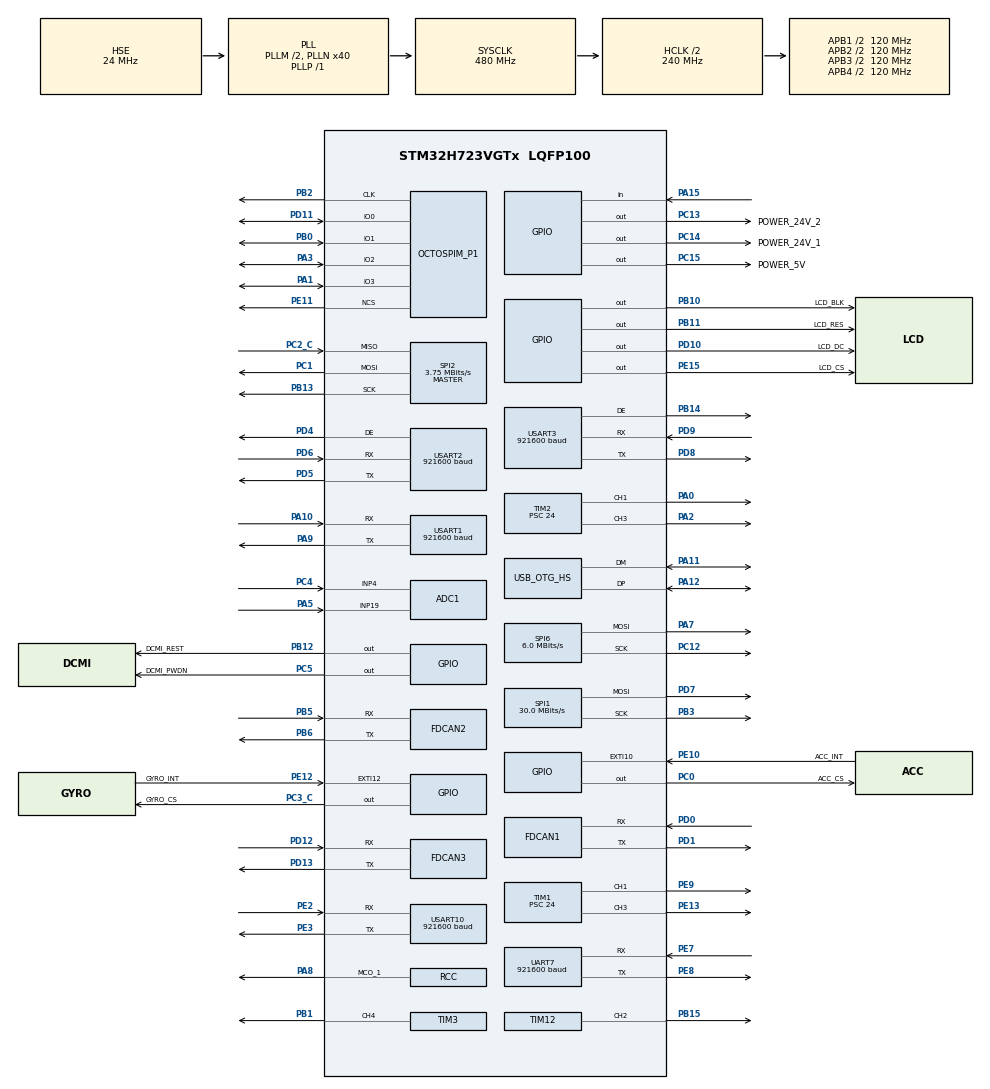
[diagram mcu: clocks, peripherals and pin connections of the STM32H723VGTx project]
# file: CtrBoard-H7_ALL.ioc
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ADC1.Channel-0\#ChannelRegularConversion=ADC_CHANNEL_4
ADC1.Channel-1\#ChannelRegularConversion=ADC_CHANNEL_19
ADC1.ClockPrescaler=ADC_CLOCK_ASYNC_DIV64
ADC1.ContinuousConvMode=ENABLE
ADC1.ConversionDataManagement=ADC_CONVERSIONDATA_DMA_CIRCULAR
ADC1.NbrOfConversion=2
ADC1.NbrOfConversionFlag=1
ADC1.OffsetNumber-0\#ChannelRegularConversion=ADC_OFFSET_NONE
ADC1.OffsetNumber-1\#ChannelRegularConversion=ADC_OFFSET_NONE
ADC1.OffsetSignedSaturation-0\#ChannelRegularConversion=DISABLE
ADC1.OffsetSignedSaturation-1\#ChannelRegularConversion=DISABLE
ADC1.Rank-0\#ChannelRegularConversion=1
ADC1.Rank-1\#ChannelRegularConversion=2
ADC1.SamplingTime-0\#ChannelRegularConversion=ADC_SAMPLETIME_32CYCLES_5
ADC1.SamplingTime-1\#ChannelRegularConversion=ADC_SAMPLETIME_32CYCLES_5
ADC1.master=1
CORTEX_M7.BaseAddress-Cortex_Memory_Protection_Unit_Region0_Settings=0x24000000
CORTEX_M7.CPU_DCache=Disabled
CORTEX_M7.CPU_ICache=Disabled
CORTEX_M7.Enable-Cortex_Memory_Protection_Unit_Region0_Settings=MPU_REGION_ENABLE
CORTEX_M7.IsBufferable-Cortex_Memory_Protection_Unit_Region0_Settings=MPU_ACCESS_BUFFERABLE
CORTEX_M7.IsCacheable-Cortex_Memory_Protection_Unit_Region0_Settings=MPU_ACCESS_CACHEABLE
CORTEX_M7.MPU_Control=__NULL
CORTEX_M7.Size-Cortex_Memory_Protection_Unit_Region0_Settings=MPU_REGION_SIZE_512B
CORTEX_M7.TypeExtField-Cortex_Memory_Protection_Unit_Region0_Settings=MPU_TEX_LEVEL1
Dma.ADC1.0.Direction=DMA_PERIPH_TO_MEMORY
Dma.ADC1.0.EventEnable=DISABLE
Dma.ADC1.0.FIFOMode=DMA_FIFOMODE_DISABLE
Dma.ADC1.0.Instance=DMA1_Stream0
Dma.ADC1.0.MemDataAlignment=DMA_MDATAALIGN_HALFWORD
Dma.ADC1.0.MemInc=DMA_MINC_ENABLE
Dma.ADC1.0.Mode=DMA_CIRCULAR
Dma.ADC1.0.PeriphDataAlignment=DMA_PDATAALIGN_HALFWORD
Dma.ADC1.0.PeriphInc=DMA_PINC_DISABLE
Dma.ADC1.0.Polarity=HAL_DMAMUX_REQ_GEN_RISING
Dma.ADC1.0.Priority=DMA_PRIORITY_LOW
Dma.ADC1.0.RequestNumber=1
Dma.ADC1.0.SignalID=NONE
Dma.ADC1.0.SyncEnable=DISABLE
Dma.ADC1.0.SyncPolarity=HAL_DMAMUX_SYNC_NO_EVENT
Dma.ADC1.0.SyncRequestNumber=1
Dma.ADC1.0.SyncSignalID=NONE
Dma.Request0=ADC1
FDCAN1.CalculateBaudRateNominal=1000000
FDCAN1.CalculateTimeBitNominal=1000
FDCAN1.CalculateTimeQuantumNominal=50.0
FDCAN1.NominalPrescaler=6
FDCAN1.NominalSyncJumpWidth=4
FDCAN1.NominalTimeSeg1=15
FDCAN1.NominalTimeSeg2=4
FDCAN1.RxFifo0ElmtsNbr=32
FDCAN1.StdFiltersNbr=1
FDCAN1.TxFifoQueueElmtsNbr=32
FDCAN2.CalculateBaudRateNominal=1000000
FDCAN2.CalculateTimeBitNominal=1000
FDCAN2.CalculateTimeQuantumNominal=200.0
FDCAN2.MessageRAMOffset=0x406
FDCAN2.NominalPrescaler=24
FDCAN2.RxFifo0ElmtsNbr=32
FDCAN2.StdFiltersNbr=1
FDCAN2.TxFifoQueueElmtsNbr=32
FDCAN3.CalculateBaudRateNominal=1000000
FDCAN3.CalculateTimeBitNominal=1000
FDCAN3.CalculateTimeQuantumNominal=200.0
FDCAN3.MessageRAMOffset=0x812
FDCAN3.NominalPrescaler=24
FDCAN3.RxFifo0ElmtsNbr=32
FDCAN3.StdFiltersNbr=1
FDCAN3.TxFifoQueueElmtsNbr=32
FREERTOS.INCLUDE_eTaskGetState=1
FREERTOS.INCLUDE_uxTaskGetStackHighWaterMark=1
FREERTOS.INCLUDE_vTaskDelayUntil=1
FREERTOS.INCLUDE_xQueueGetMutexHolder=1
FREERTOS.INCLUDE_xTaskGetCurrentTaskHandle=1
FREERTOS.INCLUDE_xTimerPendFunctionCall=1
FREERTOS.Tasks01=defaultTask,0,128,StartDefaultTask,Default,NULL,Dynamic,NULL,NULL;KeyTask,3,128,KeyTask_Entry,As weak,NULL,Static,KeyTaskBuffer,KeyTaskControlBlock;LcdTask,0,256,LcdTask_Entry,As weak,NULL,Static,LcdTaskBuffer,LcdTaskControlBlock;ImuTask,2,1024,ImuTask_Entry,As weak,NULL,Static,ImuTaskBuffer,ImuTaskControlBlock;FunTest,-1,128,FunTest_Entry,As weak,NULL,Static,FunTestBuffer,FunTestControlBlock
FREERTOS.configENABLE_FPU=1
FREERTOS.configUSE_COUNTING_SEMAPHORES=1
FREERTOS.configUSE_RECURSIVE_MUTEXES=1
FREERTOS.configUSE_TIMERS=1
FREERTOS.configUSE_TRACE_FACILITY=1
Mcu.Family=STM32H7
Mcu.Name=STM32H723VGTx
Mcu.Package=LQFP100
NVIC.DMA1_Stream0_IRQn=true\:5\:0\:false\:false\:true\:false\:false\:true\:true
NVIC.FDCAN1_IT0_IRQn=true\:5\:0\:false\:false\:true\:true\:true\:true\:true
NVIC.FDCAN1_IT1_IRQn=true\:5\:0\:false\:false\:true\:true\:true\:true\:true
NVIC.FDCAN2_IT0_IRQn=true\:5\:0\:false\:false\:true\:true\:true\:true\:true
NVIC.FDCAN2_IT1_IRQn=true\:5\:0\:false\:false\:true\:true\:true\:true\:true
NVIC.FDCAN3_IT0_IRQn=true\:5\:0\:false\:false\:true\:true\:true\:true\:true
NVIC.FDCAN3_IT1_IRQn=true\:5\:0\:false\:false\:true\:true\:true\:true\:true
NVIC.OTG_HS_IRQn=true\:5\:0\:false\:false\:true\:true\:false\:true\:true
NVIC.PriorityGroup=NVIC_PRIORITYGROUP_4
NVIC.TIM23_IRQn=true\:15\:0\:false\:false\:true\:false\:false\:true\:true
NVIC.TimeBase=TIM23_IRQn
NVIC.TimeBaseIP=TIM23
NVIC.UART7_IRQn=true\:5\:0\:true\:false\:true\:false\:true\:true\:true
NVIC.USART10_IRQn=true\:5\:0\:true\:false\:true\:false\:true\:true\:true
NVIC.USART1_IRQn=true\:5\:0\:true\:false\:true\:false\:true\:true\:true
NVIC.USART2_IRQn=true\:5\:0\:true\:false\:true\:false\:true\:true\:true
NVIC.USART3_IRQn=true\:5\:0\:true\:false\:true\:false\:true\:true\:true
OCTOSPI2.ClockMode=HAL_OSPI_CLOCK_MODE_3
OCTOSPI2.ClockPrescaler=3
OCTOSPI2.DeviceSize=23
OCTOSPI2.DeviceType=SPI_DEVICE_FLASH
OCTOSPI2.FifoThreshold=8
OCTOSPI2.SampleShifting=HAL_OSPI_SAMPLE_SHIFTING_HALFCYCLE
PA0.Signal=S_TIM2_CH1_ETR
PA1.Mode=OCTOSPI2_IOL_Port1L
PA1.Signal=OCTOSPIM_P1_IO3
PA10.Mode=Asynchronous
PA10.Signal=USART1_RX
PA11.Mode=Device_Only_FS
PA11.Signal=USB_OTG_HS_DM
PA12.Mode=Device_Only_FS
PA12.Signal=USB_OTG_HS_DP
PA13(JTMS/SWDIO).Mode=Serial_Wire
PA13(JTMS/SWDIO).Signal=DEBUG_JTMS-SWDIO
PA14(JTCK/SWCLK).Mode=Serial_Wire
PA14(JTCK/SWCLK).Signal=DEBUG_JTCK-SWCLK
PA15(JTDI).GPIO_PuPd=GPIO_PULLUP
PA15(JTDI).Signal=GPIO_Input
PA2.Signal=S_TIM2_CH3
PA3.Mode=OCTOSPI2_IOL_Port1L
PA3.Signal=OCTOSPIM_P1_IO2
PA5.Signal=ADCx_INP19
PA7.Mode=TX_Only_Simplex_Unidirect_Master
PA7.Signal=SPI6_MOSI
PA8.Mode=Clock-out-1
PA8.Signal=RCC_MCO_1
PA9.Mode=Asynchronous
PA9.Signal=USART1_TX
PB0.Mode=OCTOSPI2_IOL_Port1L
PB0.Signal=OCTOSPIM_P1_IO1
PB1.Signal=S_TIM3_CH4
PB10.GPIO_Label=LCD_BLK
PB10.Signal=GPIO_Output
PB11.GPIO_Label=LCD_RES
PB11.Signal=GPIO_Output
PB12.GPIO_Label=DCMI_REST
PB12.GPIO_PuPd=GPIO_PULLUP
PB12.GPIO_Speed=GPIO_SPEED_FREQ_VERY_HIGH
PB12.PinState=GPIO_PIN_SET
PB12.Signal=GPIO_Output
PB13.GPIO_Speed=GPIO_SPEED_FREQ_VERY_HIGH
PB13.Mode=Full_Duplex_Master
PB13.Signal=SPI2_SCK
PB14.Mode=Hardware Flow Control (RS485)
PB14.Signal=USART3_DE
PB15.Signal=S_TIM12_CH2
PB2.Mode=O2_P1_CLK
PB2.Signal=OCTOSPIM_P1_CLK
PB3(JTDO/TRACESWO).GPIO_Speed=GPIO_SPEED_FREQ_VERY_HIGH
PB3(JTDO/TRACESWO).Mode=TX_Only_Simplex_Unidirect_Master
PB3(JTDO/TRACESWO).Signal=SPI1_SCK
PB5.Mode=FDCAN_Activate
PB5.Signal=FDCAN2_RX
PB6.Mode=FDCAN_Activate
PB6.Signal=FDCAN2_TX
PC0.GPIO_Label=ACC_CS
PC0.GPIO_Speed=GPIO_SPEED_FREQ_VERY_HIGH
PC0.PinState=GPIO_PIN_SET
PC0.Signal=GPIO_Output
PC1.GPIO_Speed=GPIO_SPEED_FREQ_VERY_HIGH
PC1.Mode=Full_Duplex_Master
PC1.Signal=SPI2_MOSI
PC12.Mode=TX_Only_Simplex_Unidirect_Master
PC12.Signal=SPI6_SCK
PC13.GPIO_Label=POWER_24V_2
PC13.PinState=GPIO_PIN_SET
PC13.Signal=GPIO_Output
PC14-OSC32_IN.GPIO_Label=POWER_24V_1
PC14-OSC32_IN.PinState=GPIO_PIN_SET
PC14-OSC32_IN.Signal=GPIO_Output
PC15-OSC32_OUT.GPIO_Label=POWER_5V
PC15-OSC32_OUT.PinState=GPIO_PIN_SET
PC15-OSC32_OUT.Signal=GPIO_Output
PC2_C.GPIO_Speed=GPIO_SPEED_FREQ_VERY_HIGH
PC2_C.Mode=Full_Duplex_Master
PC2_C.Signal=SPI2_MISO
PC3_C.GPIO_Label=GYRO_CS
PC3_C.GPIO_Speed=GPIO_SPEED_FREQ_VERY_HIGH
PC3_C.PinState=GPIO_PIN_SET
PC3_C.Signal=GPIO_Output
PC4.Signal=ADCx_INP4
PC5.GPIO_Label=DCMI_PWDN
PC5.GPIO_PuPd=GPIO_NOPULL
PC5.GPIO_Speed=GPIO_SPEED_FREQ_VERY_HIGH
PC5.PinState=GPIO_PIN_SET
PC5.Signal=GPIO_Output
PD0.Mode=FDCAN_Activate
PD0.Signal=FDCAN1_RX
PD1.Mode=FDCAN_Activate
PD1.Signal=FDCAN1_TX
PD10.GPIO_Label=LCD_DC
PD10.Signal=GPIO_Output
PD11.Mode=OCTOSPI2_IOL_Port1L
PD11.Signal=OCTOSPIM_P1_IO0
PD12.Mode=FDCAN_Activate
PD12.Signal=FDCAN3_RX
PD13.Mode=FDCAN_Activate
PD13.Signal=FDCAN3_TX
PD4.Mode=Hardware Flow Control (RS485)
PD4.Signal=USART2_DE
PD5.Mode=Asynchronous
PD5.Signal=USART2_TX
PD6.Mode=Asynchronous
PD6.Signal=USART2_RX
PD7.GPIO_Speed=GPIO_SPEED_FREQ_VERY_HIGH
PD7.Mode=TX_Only_Simplex_Unidirect_Master
PD7.Signal=SPI1_MOSI
PD8.Mode=Asynchronous
PD8.Signal=USART3_TX
PD9.Mode=Asynchronous
PD9.Signal=USART3_RX
PE10.GPIO_Label=ACC_INT
PE10.Signal=GPXTI10
PE11.Mode=OCTOSPI2_Port1_NCS
PE11.Signal=OCTOSPIM_P1_NCS
PE12.GPIO_Label=GYRO_INT
PE12.Signal=GPXTI12
PE13.Signal=S_TIM1_CH3
PE15.GPIO_Label=LCD_CS
PE15.Signal=GPIO_Output
PE2.Mode=Asynchronous
PE2.Signal=USART10_RX
PE3.Mode=Asynchronous
PE3.Signal=USART10_TX
PE7.Mode=Asynchronous
PE7.Signal=UART7_RX
PE8.Mode=Asynchronous
PE8.Signal=UART7_TX
PE9.Signal=S_TIM1_CH1
PH0-OSC_IN.Mode=HSE-External-Oscillator
PH0-OSC_IN.Signal=RCC_OSC_IN
PH1-OSC_OUT.Mode=HSE-External-Oscillator
PH1-OSC_OUT.Signal=RCC_OSC_OUT
ProjectManager.HeapSize=0x200
ProjectManager.StackSize=0x800
ProjectManager.TargetToolchain=CMake
RCC.ADCFreq_Value=96000000
RCC.APB1Freq_Value=120000000
RCC.APB2Freq_Value=120000000
RCC.APB3Freq_Value=120000000
RCC.APB4Freq_Value=120000000
RCC.CortexFreq_Value=480000000
RCC.D1PPRE=RCC_APB3_DIV2
RCC.D2PPRE1=RCC_APB1_DIV2
RCC.D2PPRE2=RCC_APB2_DIV2
RCC.D3PPRE=RCC_APB4_DIV2
RCC.DIVM1=2
RCC.DIVM2=2
RCC.DIVN1=40
RCC.DIVN2=16
RCC.DIVP1=1
RCC.DIVQ1=4
RCC.EnbaleCSS=false
RCC.HCLKFreq_Value=240000000
RCC.HPRE=RCC_HCLK_DIV2
RCC.HSE_VALUE=24000000
RCC.PLL2FRACN=0
RCC.PLL2_VCI_Range-AdvancedSettings=RCC_PLL2VCIRANGE_0
RCC.PLL2_VCO_SEL-AdvancedSettings=RCC_PLL2VCOWIDE
RCC.PLL3FRACN=0
RCC.PLL3_VCO_SEL-AdvancedSettings=RCC_PLL3VCOMEDIUM
RCC.PLLFRACN=0
RCC.PLLSourceVirtual=RCC_PLLSOURCE_HSE
RCC.SPI6CLockSelection=RCC_SPI6CLKSOURCE_HSE
RCC.SYSCLKFreq_VALUE=480000000
RCC.SYSCLKSource=RCC_SYSCLKSOURCE_PLLCLK
RCC.USBCLockSelection=RCC_USBCLKSOURCE_HSI48
RCC.USBFreq_Value=48000000
SH.ADCx_INP19.0=ADC1_INP19,IN19-Single-Ended
SH.ADCx_INP4.0=ADC1_INP4,IN4-Single-Ended
SH.S_TIM12_CH2.0=TIM12_CH2,PWM Generation2 CH2
SH.S_TIM1_CH1.0=TIM1_CH1,PWM Generation1 CH1
SH.S_TIM1_CH3.0=TIM1_CH3,PWM Generation3 CH3
SH.S_TIM2_CH1_ETR.0=TIM2_CH1,PWM Generation1 CH1
SH.S_TIM2_CH3.0=TIM2_CH3,PWM Generation3 CH3
SH.S_TIM3_CH4.0=TIM3_CH4,PWM Generation4 CH4
SPI1.BaudRatePrescaler=SPI_BAUDRATEPRESCALER_4
SPI1.CLKPolarity=SPI_POLARITY_HIGH
SPI1.CalculateBaudRate=30.0 MBits/s
SPI1.DataSize=SPI_DATASIZE_8BIT
SPI1.Direction=SPI_DIRECTION_2LINES_TXONLY
SPI1.Mode=SPI_MODE_MASTER
SPI1.VirtualType=VM_MASTER
SPI2.BaudRatePrescaler=SPI_BAUDRATEPRESCALER_32
SPI2.CLKPhase=SPI_PHASE_2EDGE
SPI2.CLKPolarity=SPI_POLARITY_HIGH
SPI2.CalculateBaudRate=3.75 MBits/s
SPI2.DataSize=SPI_DATASIZE_8BIT
SPI2.Direction=SPI_DIRECTION_2LINES
SPI2.Mode=SPI_MODE_MASTER
SPI2.VirtualType=VM_MASTER
SPI6.BaudRatePrescaler=SPI_BAUDRATEPRESCALER_4
SPI6.CLKPhase=SPI_PHASE_1EDGE
SPI6.CalculateBaudRate=6.0 MBits/s
SPI6.DataSize=SPI_DATASIZE_8BIT
SPI6.Direction=SPI_DIRECTION_2LINES_TXONLY
SPI6.Mode=SPI_MODE_MASTER
SPI6.VirtualType=VM_MASTER
TIM1.Channel-PWM\ Generation1\ CH1=TIM_CHANNEL_1
TIM1.Channel-PWM\ Generation3\ CH3=TIM_CHANNEL_3
TIM1.Period=10000
TIM1.Prescaler=24
TIM1.Pulse-PWM\ Generation1\ CH1=5000
TIM1.Pulse-PWM\ Generation3\ CH3=5000
TIM12.Channel-PWM\ Generation2\ CH2=TIM_CHANNEL_2
TIM12.Period=2000-1
TIM12.Prescaler=24-1
TIM2.Channel-PWM\ Generation1\ CH1=TIM_CHANNEL_1
TIM2.Channel-PWM\ Generation3\ CH3=TIM_CHANNEL_3
TIM2.Period=10000
TIM2.Prescaler=24
TIM2.Pulse-PWM\ Generation1\ CH1=5000
TIM2.Pulse-PWM\ Generation3\ CH3=5000
TIM3.AutoReloadPreload=TIM_AUTORELOAD_PRELOAD_ENABLE
TIM3.Channel-PWM\ Generation4\ CH4=TIM_CHANNEL_4
TIM3.Period=10000-1
TIM3.Prescaler=24-1
UART7.BaudRate=921600
USART1.BaudRate=921600
USART1.VirtualMode-Asynchronous=VM_ASYNC
USART10.BaudRate=921600
USART10.VirtualMode=VM_ASYNC
USART2.BaudRate=921600
USART2.VirtualMode-Asynchronous=VM_ASYNC
USART2.VirtualMode-Hardware\ Flow\ Control\ (RS485)=VM_ASYNC
USART3.BaudRate=921600
USART3.VirtualMode-Asynchronous=VM_ASYNC
USART3.VirtualMode-Hardware\ Flow\ Control\ (RS485)=VM_ASYNC
USB_DEVICE.CLASS_NAME_HS=CDC
USB_DEVICE.VirtualMode=Cdc
USB_DEVICE.VirtualModeHS=Cdc_HS
USB_OTG_HS.VirtualMode-Device_Only_FS=Device_Only_FS
VP_FREERTOS_VS_CMSIS_V1.Mode=CMSIS_V1
VP_OCTOSPI2_VS_quad.Mode=quad_mode
VP_SYS_VS_tim23.Mode=TIM23
VP_USB_DEVICE_VS_USB_DEVICE_CDC_HS.Mode=CDC_HS
board=custom

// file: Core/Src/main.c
/* USER CODE BEGIN Header */
/**
  ******************************************************************************
  * @file           : main.c
  * @brief          : Main program body
  ******************************************************************************
  * @attention
  *
  * Copyright (c) 2024 STMicroelectronics.
  * All rights reserved.
  *
  * This software is licensed under terms that can be found in the LICENSE file
  * in the root directory of this software component.
  * If no LICENSE file comes with this software, it is provided AS-IS.
  *
  ******************************************************************************
  */
/* USER CODE END Header */
#include "main.h"
#include "cmsis_os.h"
#include "adc.h"
#include "dma.h"
#include "fdcan.h"
#include "octospi.h"
#include "spi.h"
#include "tim.h"
#include "usart.h"
#include "usb_device.h"
#include "gpio.h"

/* USER CODE BEGIN Includes */
#include "Algorithm_Example.h"
#include "vofa.h"
#include "w25q64.h"
#include <stdio.h>

/* USER CODE END Includes */

/* USER CODE BEGIN PV */
#define W25Qxx_NumByteToTest   	32*1024					// Flash 读写测试长度：32 KB

int32_t OSPI_Status ; 		 // OSPI 操作状态

uint8_t  W25Qxx_WriteBuffer[W25Qxx_NumByteToTest];		// 写入缓冲区
uint8_t  W25Qxx_ReadBuffer[W25Qxx_NumByteToTest];		// 读取缓冲区
/* USER CODE END PV */

void SystemClock_Config(void);
void MX_FREERTOS_Init(void);

/* USER CODE BEGIN 0 */
/***************************************************************************************************
* 函 数 名: OSPI_W25Qxx_Test
* 输入参数: 无
* 返 回 值: OSPI_W25Qxx_OK 表示测试通过
* 功能说明: 对 W25Q64 进行擦除、写入、读取、校验和读取速度测试
* 注    意: 测试会擦除 Flash 起始地址处的 32 KB 数据
***************************************************************************************************/

int8_t OSPI_W25Qxx_Test(void)		// Flash 读写测试
{
    uint32_t i = 0X8000;	// 循环索引
    uint32_t W25Qxx_TestAddr  =	0	;							// 测试起始地址
    uint32_t ExecutionTime_Begin;		// 开始时间
    uint32_t ExecutionTime_End;		// 结束时间
    uint32_t ExecutionTime;				// 执行时间
    float    ExecutionSpeed;			// 执行速度

// 擦除测试

    ExecutionTime_Begin 	= HAL_GetTick();	// 获取当前时间，单位：ms
    OSPI_Status 			= OSPI_W25Qxx_BlockErase_32K(W25Qxx_TestAddr);	// 擦除 32 KB 块
    ExecutionTime_End		= HAL_GetTick();	// 获取当前时间，单位：ms

    ExecutionTime = ExecutionTime_End - ExecutionTime_Begin; // 计算耗时，单位：ms

    if( OSPI_Status == OSPI_W25Qxx_OK )
    {
        printf ("\r\nW25Q64 erase succeed, time: %d ms\r\n",ExecutionTime);
    }
    else
    {
        printf ("\r\n erase error!!!!!  ERROR CODE:%d\r\n",OSPI_Status);
        while (1);
    }

// 写入测试

    for(i=0;i<W25Qxx_NumByteToTest;i++)  // 填充待写入的数据
    {
        W25Qxx_WriteBuffer[i] = i;
    }
    ExecutionTime_Begin 	= HAL_GetTick();	// 获取当前时间，单位：ms
    OSPI_Status				= OSPI_W25Qxx_WriteBuffer(W25Qxx_WriteBuffer,W25Qxx_TestAddr,W25Qxx_NumByteToTest); // 写入数据
    ExecutionTime_End		= HAL_GetTick();	// 获取当前时间，单位：ms

    ExecutionTime  = ExecutionTime_End - ExecutionTime_Begin; 		// 计算耗时，单位：ms
    ExecutionSpeed = (float)W25Qxx_NumByteToTest / ExecutionTime ; // 计算写入速度，单位：KB/s
    if( OSPI_Status == OSPI_W25Qxx_OK )
    {
        printf ("\r\nwrite succeed, data size: %d KB, time: %d ms, speed: %.2f KB/s\r\n",W25Qxx_NumByteToTest/1024,ExecutionTime,ExecutionSpeed);
    }
    else
    {
        printf ("\r\nwrite error!!!!!  error code: %d\r\n",OSPI_Status);
        while (1);
    }

// 读取测试

    ExecutionTime_Begin 	= HAL_GetTick();	// 获取当前时间，单位：ms
    OSPI_Status				= OSPI_W25Qxx_ReadBuffer(W25Qxx_ReadBuffer,W25Qxx_TestAddr,W25Qxx_NumByteToTest);	// 读取数据
    ExecutionTime_End		= HAL_GetTick();	// 获取当前时间，单位：ms

    ExecutionTime  = ExecutionTime_End - ExecutionTime_Begin; 					// 计算耗时，单位：ms
    ExecutionSpeed = (float)W25Qxx_NumByteToTest/1024/1024 / ExecutionTime*1000 ; 	// 计算读取速度，单位：MB/s

    if( OSPI_Status == OSPI_W25Qxx_OK )
    {
        printf ("\r\nread succeed, size: %d KB, time: %d ms, speed: %.2f MB/s \r\n",W25Qxx_NumByteToTest/1024,ExecutionTime,ExecutionSpeed);
    }
    else
    {
        printf ("\r\nread error!!!!!  error code:%d\r\n",OSPI_Status);
        while (1);
    }
// 数据校验

    for(i=0;i<W25Qxx_NumByteToTest;i++)	// 检查读取数据是否与写入数据一致
    {
        if( W25Qxx_WriteBuffer[i] != W25Qxx_ReadBuffer[i] )	// 数据不一致时报告错误位置
        {
            printf ("\r\ndata check error!!!!!pos: %d\r\n",i);
            while(1);
        }
    }
    printf ("\r\ncheck pass!!!!!\r\n");

// 读取整片 Flash，以减小毫秒计时精度对速度测试的影响

    printf ("\r\n*****************************************************************************************************\r\n");
    printf ("\r\nIn the above test, the data read is relatively small and takes a short time. In addition, the minimum unit of measurement is ms, and the calculated reading speed has a large error.\r\n");
    printf ("\r\nNext, read the entire flash data to test the speed. The speed error obtained in this way is relatively small.\r\n");
    printf ("\r\nread start>>>>\r\n");
    ExecutionTime_Begin 	= HAL_GetTick();	// 获取当前时间，单位：ms

    for(i=0;i<W25Qxx_FlashSize/(W25Qxx_NumByteToTest);i++)	// 每次读取一个测试缓冲区大小的数据
    {
        OSPI_Status     = OSPI_W25Qxx_ReadBuffer(W25Qxx_ReadBuffer,W25Qxx_TestAddr,W25Qxx_NumByteToTest);	// 读取数据
        W25Qxx_TestAddr = W25Qxx_TestAddr + W25Qxx_NumByteToTest;
    }
    ExecutionTime_End   = HAL_GetTick();	// 获取当前时间，单位：ms

    ExecutionTime       = ExecutionTime_End - ExecutionTime_Begin; 								// 计算耗时，单位：ms
    ExecutionSpeed      = (float)W25Qxx_FlashSize/1024/1024 / ExecutionTime*1000  ; 	// 计算读取速度，单位：MB/s

    if( OSPI_Status == OSPI_W25Qxx_OK )
    {
        printf ("\r\nread succeed, size: %d MB, time: %d ms, speed: %.2f MB/s \r\n",W25Qxx_FlashSize/1024/1024,ExecutionTime,ExecutionSpeed);
    }
    else
    {
        printf ("\r\nread error!!!!!  error code:%d\r\n",OSPI_Status);
        while (1);
    }

    return OSPI_W25Qxx_OK ;  // 测试通过

}
/* USER CODE END 0 */

int main(void)
{

  /* MCU Configuration--------------------------------------------------------*/

  /* Reset of all peripherals, Initializes the Flash interface and the Systick. */
  HAL_Init();

  /* Configure the system clock */
  SystemClock_Config();

  /* Initialize all configured peripherals */
  MX_GPIO_Init();
  MX_DMA_Init();
  MX_ADC1_Init();
  MX_TIM12_Init();
  MX_SPI1_Init();
  MX_SPI6_Init();
  MX_SPI2_Init();
  MX_TIM3_Init();
  MX_USART1_UART_Init();
  MX_USART2_UART_Init();
  MX_USART3_UART_Init();
  MX_UART7_Init();
  MX_USART10_UART_Init();
  MX_FDCAN1_Init();
  MX_FDCAN2_Init();
  MX_FDCAN3_Init();
  MX_TIM1_Init();
  MX_TIM2_Init();
  MX_OCTOSPI2_Init();
  /* USER CODE BEGIN 2 */
//    OSPI_W25Qxx_Init();     // 初始化 OSPI 和 W25Q64
//
//    OSPI_W25Qxx_Test();     // Flash 读写测试
  /* USER CODE END 2 */

  /* Call init function for freertos objects (in freertos.c) */
  MX_FREERTOS_Init();

  /* Start scheduler */
  osKernelStart();

  /* We should never get here as control is now taken by the scheduler */
  /* Infinite loop */
  /* USER CODE BEGIN WHILE */
  while (1)
  {
//	  vofa_start();
      Algorithm_Example_Run();

    /* USER CODE END WHILE */

  }
}

void SystemClock_Config(void)
{
  RCC_OscInitTypeDef RCC_OscInitStruct = {0};
  RCC_ClkInitTypeDef RCC_ClkInitStruct = {0};

  /** Supply configuration update enable
  */
  HAL_PWREx_ConfigSupply(PWR_LDO_SUPPLY);

  /** Configure the main internal regulator output voltage
  */
  __HAL_PWR_VOLTAGESCALING_CONFIG(PWR_REGULATOR_VOLTAGE_SCALE0);

  while(!__HAL_PWR_GET_FLAG(PWR_FLAG_VOSRDY)) {}

  /** Initializes the RCC Oscillators according to the specified parameters
  * in the RCC_OscInitTypeDef structure.
  */
  RCC_OscInitStruct.OscillatorType = RCC_OSCILLATORTYPE_HSI48|RCC_OSCILLATORTYPE_HSI
                              |RCC_OSCILLATORTYPE_HSE;
  RCC_OscInitStruct.HSEState = RCC_HSE_ON;
  RCC_OscInitStruct.HSIState = RCC_HSI_DIV1;
  RCC_OscInitStruct.HSICalibrationValue = 64;
  RCC_OscInitStruct.HSI48State = RCC_HSI48_ON;
  RCC_OscInitStruct.PLL.PLLState = RCC_PLL_ON;
  RCC_OscInitStruct.PLL.PLLSource = RCC_PLLSOURCE_HSE;
  RCC_OscInitStruct.PLL.PLLM = 2;
  RCC_OscInitStruct.PLL.PLLN = 40;
  RCC_OscInitStruct.PLL.PLLP = 1;
  RCC_OscInitStruct.PLL.PLLQ = 4;
  RCC_OscInitStruct.PLL.PLLR = 2;
  RCC_OscInitStruct.PLL.PLLRGE = RCC_PLL1VCIRANGE_3;
  RCC_OscInitStruct.PLL.PLLVCOSEL = RCC_PLL1VCOWIDE;
  RCC_OscInitStruct.PLL.PLLFRACN = 0;
  if (HAL_RCC_OscConfig(&RCC_OscInitStruct) != HAL_OK)
  {
    Error_Handler();
  }

  /** Initializes the CPU, AHB and APB buses clocks
  */
  RCC_ClkInitStruct.ClockType = RCC_CLOCKTYPE_HCLK|RCC_CLOCKTYPE_SYSCLK
                              |RCC_CLOCKTYPE_PCLK1|RCC_CLOCKTYPE_PCLK2
                              |RCC_CLOCKTYPE_D3PCLK1|RCC_CLOCKTYPE_D1PCLK1;
  RCC_ClkInitStruct.SYSCLKSource = RCC_SYSCLKSOURCE_PLLCLK;
  RCC_ClkInitStruct.SYSCLKDivider = RCC_SYSCLK_DIV1;
  RCC_ClkInitStruct.AHBCLKDivider = RCC_HCLK_DIV2;
  RCC_ClkInitStruct.APB3CLKDivider = RCC_APB3_DIV2;
  RCC_ClkInitStruct.APB1CLKDivider = RCC_APB1_DIV2;
  RCC_ClkInitStruct.APB2CLKDivider = RCC_APB2_DIV2;
  RCC_ClkInitStruct.APB4CLKDivider = RCC_APB4_DIV2;

  if (HAL_RCC_ClockConfig(&RCC_ClkInitStruct, FLASH_LATENCY_3) != HAL_OK)
  {
    Error_Handler();
  }
  HAL_RCC_MCOConfig(RCC_MCO1, RCC_MCO1SOURCE_HSI, RCC_MCODIV_1);
}

void HAL_TIM_PeriodElapsedCallback(TIM_HandleTypeDef *htim)
{
  if (htim->Instance == TIM23) {
    HAL_IncTick();
  }
}

void Error_Handler(void)
{
  __disable_irq();
  while (1)
  {
  }
}

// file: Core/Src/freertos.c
/* USER CODE BEGIN Header */
/**
  ******************************************************************************
  * File Name          : freertos.c
  * Description        : Code for freertos applications
  ******************************************************************************
  * @attention
  *
  * Copyright (c) 2024 STMicroelectronics.
  * All rights reserved.
  *
  * This software is licensed under terms that can be found in the LICENSE file
  * in the root directory of this software component.
  * If no LICENSE file comes with this software, it is provided AS-IS.
  *
  ******************************************************************************
  */
/* USER CODE END Header */

#include "FreeRTOS.h"
#include "task.h"
#include "main.h"
#include "cmsis_os.h"

/* USER CODE BEGIN Includes */
#include "Algorithm_Example.h"

/* USER CODE END Includes */

osThreadId defaultTaskHandle;
osThreadId KeyTaskHandle;
uint32_t KeyTaskBuffer[ 128 ];
osStaticThreadDef_t KeyTaskControlBlock;
osThreadId LcdTaskHandle;
uint32_t LcdTaskBuffer[ 256 ];
osStaticThreadDef_t LcdTaskControlBlock;
osThreadId ImuTaskHandle;
uint32_t ImuTaskBuffer[ 1024 ];
osStaticThreadDef_t ImuTaskControlBlock;
osThreadId FunTestHandle;
uint32_t FunTestBuffer[ 128 ];
osStaticThreadDef_t FunTestControlBlock;

void StartDefaultTask(void const * argument);
void KeyTask_Entry(void const * argument);
void LcdTask_Entry(void const * argument);
void ImuTask_Entry(void const * argument);
void FunTest_Entry(void const * argument);

extern void MX_USB_DEVICE_Init(void);
void MX_FREERTOS_Init(void); /* (MISRA C 2004 rule 8.1) */

/* GetIdleTaskMemory prototype (linked to static allocation support) */
void vApplicationGetIdleTaskMemory( StaticTask_t **ppxIdleTaskTCBBuffer, StackType_t **ppxIdleTaskStackBuffer, uint32_t *pulIdleTaskStackSize );

/* GetTimerTaskMemory prototype (linked to static allocation support) */
void vApplicationGetTimerTaskMemory( StaticTask_t **ppxTimerTaskTCBBuffer, StackType_t **ppxTimerTaskStackBuffer, uint32_t *pulTimerTaskStackSize );

/* USER CODE BEGIN GET_IDLE_TASK_MEMORY */
static StaticTask_t xIdleTaskTCBBuffer;
static StackType_t xIdleStack[configMINIMAL_STACK_SIZE];

void vApplicationGetIdleTaskMemory( StaticTask_t **ppxIdleTaskTCBBuffer, StackType_t **ppxIdleTaskStackBuffer, uint32_t *pulIdleTaskStackSize )
{
  *ppxIdleTaskTCBBuffer = &xIdleTaskTCBBuffer;
  *ppxIdleTaskStackBuffer = &xIdleStack[0];
  *pulIdleTaskStackSize = configMINIMAL_STACK_SIZE;
  /* place for user code */
}
/* USER CODE END GET_IDLE_TASK_MEMORY */

/* USER CODE BEGIN GET_TIMER_TASK_MEMORY */
static StaticTask_t xTimerTaskTCBBuffer;
static StackType_t xTimerStack[configTIMER_TASK_STACK_DEPTH];

void vApplicationGetTimerTaskMemory( StaticTask_t **ppxTimerTaskTCBBuffer, StackType_t **ppxTimerTaskStackBuffer, uint32_t *pulTimerTaskStackSize )
{
  *ppxTimerTaskTCBBuffer = &xTimerTaskTCBBuffer;
  *ppxTimerTaskStackBuffer = &xTimerStack[0];
  *pulTimerTaskStackSize = configTIMER_TASK_STACK_DEPTH;
  /* place for user code */
}
/* USER CODE END GET_TIMER_TASK_MEMORY */

void MX_FREERTOS_Init(void) {

  /* Create the thread(s) */
  /* definition and creation of defaultTask */
  osThreadDef(defaultTask, StartDefaultTask, osPriorityNormal, 0, 128);
  defaultTaskHandle = osThreadCreate(osThread(defaultTask), NULL);

  /* definition and creation of KeyTask */
  osThreadStaticDef(KeyTask, KeyTask_Entry, osPriorityRealtime, 0, 128, KeyTaskBuffer, &KeyTaskControlBlock);
  KeyTaskHandle = osThreadCreate(osThread(KeyTask), NULL);

  /* definition and creation of LcdTask */
  osThreadStaticDef(LcdTask, LcdTask_Entry, osPriorityNormal, 0, 256, LcdTaskBuffer, &LcdTaskControlBlock);
  LcdTaskHandle = osThreadCreate(osThread(LcdTask), NULL);

  /* definition and creation of ImuTask */
  osThreadStaticDef(ImuTask, ImuTask_Entry, osPriorityHigh, 0, 1024, ImuTaskBuffer, &ImuTaskControlBlock);
  ImuTaskHandle = osThreadCreate(osThread(ImuTask), NULL);

  /* definition and creation of FunTest */
  osThreadStaticDef(FunTest, FunTest_Entry, osPriorityBelowNormal, 0, 128, FunTestBuffer, &FunTestControlBlock);
  FunTestHandle = osThreadCreate(osThread(FunTest), NULL);

}

void StartDefaultTask(void const * argument)
{
  /* init code for USB_DEVICE */
  MX_USB_DEVICE_Init();
  /* USER CODE BEGIN StartDefaultTask */
  if (Algorithm_Example_Init() != HAL_OK)
  {
    Error_Handler();
  }

  /* Infinite loop */
  for(;;)
  {
    Algorithm_Example_Run();
    osDelay(1);
  }
  /* USER CODE END StartDefaultTask */
}

__weak void KeyTask_Entry(void const * argument)
{
  for(;;)
  {
    osDelay(1);
  }
}

__weak void LcdTask_Entry(void const * argument)
{
  for(;;)
  {
    osDelay(1);
  }
}

__weak void ImuTask_Entry(void const * argument)
{
  for(;;)
  {
    osDelay(1);
  }
}

__weak void FunTest_Entry(void const * argument)
{
  for(;;)
  {
    osDelay(1);
  }
}
